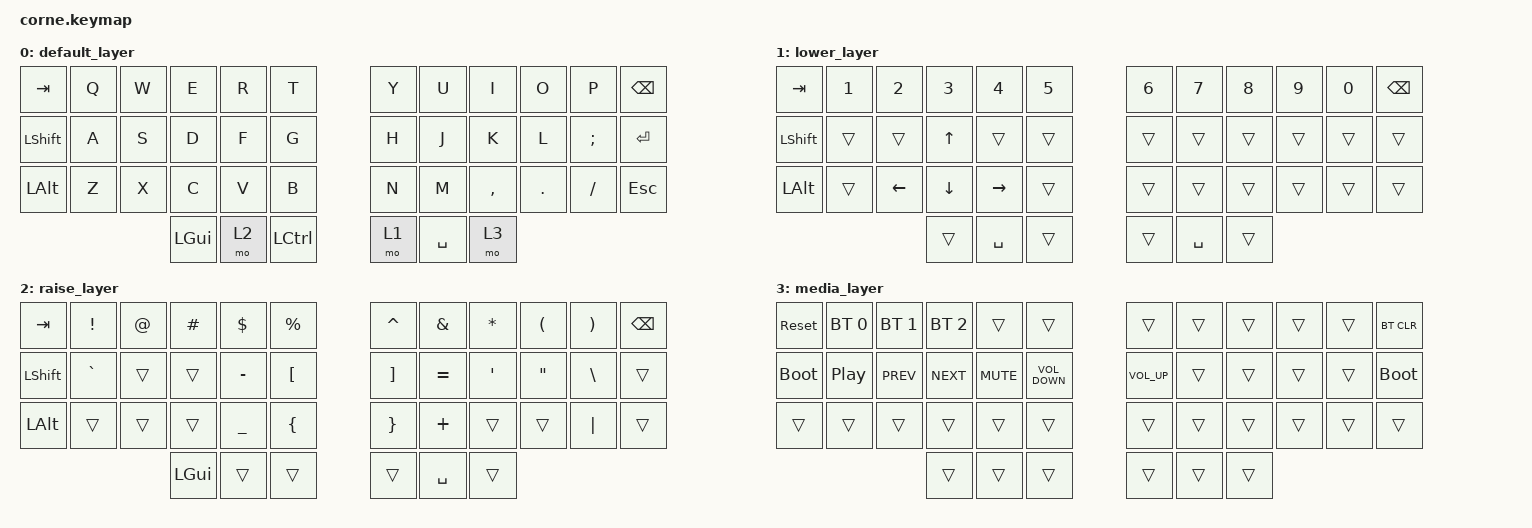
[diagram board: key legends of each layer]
/*
 * Copyright (c) 2020 The ZMK Contributors
 *
 * SPDX-License-Identifier: MIT
 */

#include <behaviors.dtsi>
#include <dt-bindings/zmk/keys.h>
#include <dt-bindings/zmk/bt.h>

/ {
    /*
     * combos {
     *     compatible = "zmk,combos";
     *
     *     Escape {
     *         bindings = <&kp ESC>;
     *         key-positions = <0 11>;
     *     };
     *
     *     OpenParenthesis {
     *         bindings = <&kp LEFT_PARENTHESIS>;
     *         key-positions = <6 7>;
     *     };
     *
     *     OpenBrace {
     *         bindings = <&kp LEFT_BRACE>;
     *         key-positions = <18 19>;
     *     };
     *
     *     OpenBracket {
     *         bindings = <&kp LEFT_BRACKET>;
     *         key-positions = <30 31>;
     *     };
     *
     *     CloseParenthasis {
     *         bindings = <&kp RIGHT_PARENTHESIS>;
     *         key-positions = <8 7>;
     *     };
     *
     *     CloseBrace {
     *         bindings = <&kp RIGHT_BRACE>;
     *         key-positions = <19 20>;
     *     };
     *
     *     CloseBracket {
     *         bindings = <&kp RIGHT_BRACKET>;
     *         key-positions = <31 32>;
     *     };
     *
     *     LessThan {
     *         bindings = <&kp LESS_THAN>;
     *         key-positions = <3 4>;
     *     };
     *
     *     GreatherThan {
     *         bindings = <&kp GREATER_THAN>;
     *         key-positions = <4 5>;
     *     };
     *
     *     Enter {
     *         bindings = <&kp ENTER>;
     *         key-positions = <38 39>;
     *     };
     * };
     */

    keymap {
        compatible = "zmk,keymap";

        default_layer {
            // -----------------------------------------------------------------------------------------
            // |  TAB |  Q  |  W  |  E  |  R  |  T  |   |  Y  |  U   |  I  |  O  |  P  | BSPC |
            // | SHFT |  A  |  S  |  D  |  F  |  G  |   |  H  |  J   |  K  |  L  |  ;  | ENTR |
            // | OPT  |  Z  |  X  |  C  |  V  |  B  |   |  N  |  M   | </, | >/. |  /? | ESC  |
            //                    | CMD | L2  | CTRL|   | L1  | SPC  |  L3 |

            bindings = <
&kp TAB         &kp Q  &kp W  &kp E     &kp R         &kp T          &kp Y      &kp U      &kp I          &kp O          &kp P          &kp BSPC
&kp LEFT_SHIFT  &kp A  &kp S  &kp D     &kp F         &kp G          &kp H      &kp J      &kp K          &kp L          &kp SEMI       &kp ENTER
&kp LEFT_ALT    &kp Z  &kp X  &kp C     &kp V         &kp B          &kp N      &kp M      &kp COMMA      &kp DOT        &kp FSLH       &kp ESC
                              &kp LGUI  &mo 2         &kp LCTRL      &mo 1      &kp SPACE  &mo 3
            >;
        };

        lower_layer {
            // -----------------------------------------------------------------------------------------
            // | TAB  |  1  |  2  |  3  |  4  |  5  |   |  6  |  7  |  8  |  9  |  0  | BSPC |
            // | SHFT |     |     | UP  |     |     |   |     |     |     |     |     |      |
            // | OPT  |     | LFT | DWN | RGT |     |   |     |     |     |     |     |      |
            //                    |     | SPC |     |   |     | SPC |     |

            bindings = <
&kp TAB          &kp NUMBER_1  &kp NUMBER_2  &kp NUMBER_3  &kp NUMBER_4  &kp NUMBER_5    &kp NUMBER_6  &kp NUMBER_7  &kp NUMBER_8  &kp NUMBER_9  &kp NUMBER_0  &kp BSPC
&kp LEFT_SHIFT   &trans        &trans        &kp UP        &trans        &trans          &trans        &trans        &trans        &trans        &trans        &trans
&kp LEFT_ALT     &trans        &kp LEFT      &kp DOWN      &kp RIGHT     &trans          &trans        &trans        &trans        &trans        &trans        &trans
                               &trans        &kp SPACE     &trans                        &trans        &kp SPACE     &trans
            >;
        };

        raise_layer {
            // -----------------------------------------------------------------------------------------
            // | TAB  |  !  |  @  |  #  |  $  |  %  |   |  ^  |  &  |  *  |  (  |  )  | BSPC |
            // | SHFT |  `  |     |     |  -  |  [  |   |  ]  |  =  |  '  |  "  |  \  |      |
            // | OPT  |     |     |     |  _  |  {  |   |  }  |  +  |     |     | "|" |      |
            //                    | CMD |     |     |   |     | SPC |     |

            bindings = <
&kp TAB             &kp EXCL   &kp AT    &kp HASH   &kp DLLR       &kp PRCNT           &kp CARET  &kp AMPS    &kp STAR   &kp LPAR  &kp RPAR  &kp BSPC
&kp LEFT_SHIFT      &kp GRAVE  &trans    &trans     &kp MINUS      &kp LBKT            &kp RBKT   &kp EQUAL   &kp SQT    &kp DQT   &kp BSLH  &trans
&kp LEFT_ALT        &trans     &trans    &trans     &kp UNDER      &kp LBRC            &kp RBRC   &kp PLUS    &trans     &trans    &kp PIPE  &trans    
                               &kp LGUI  &trans     &trans         &trans              &kp SPACE  &trans
            >;
        };

        media_layer {
            // -----------------------------------------------------------------------------------------
            // | SYSR | BT1 | BT2 | BT3 |     |     |   |     |     |     |     |     | BTCLR|
            // | BOOT |PLAY |PREV |NEXT |MUTE |V_DWN|   |V_UP |     |     |     |     |      |
            // |      |     |     |     |     |     |   |     |     |     |     |     |      |
            //                    |     |     |     |   |     |     |     |

            bindings = <
&sys_reset   &bt BT_SEL 0      &bt BT_SEL 1      &bt BT_SEL 2     &trans             &trans             &trans           &trans  &trans  &trans  &trans  &bt BT_CLR
&bootloader  &kp C_PLAY_PAUSE  &kp C_PREV        &kp C_NEXT       &kp C_MUTE         &kp C_VOLUME_DOWN  &kp C_VOLUME_UP  &trans  &trans  &trans  &trans  &bootloader
&trans       &trans            &trans            &trans           &trans             &trans             &trans           &trans  &trans  &trans  &trans  &trans
                               &trans            &trans           &trans             &trans             &trans           &trans
            >;
        };
    };
};


//For new Layers
    // -----------------------------------------------------------------------------------------
    // |      |     |     |     |     |     |   |     |     |     |     |     |      |
    // |      |     |     |     |     |     |   |     |     |     |     |     |      |
    // |      |     |     |     |     |     |   |     |     |     |     |     |      |
    //                    |     |     |     |   |     |     |     |
